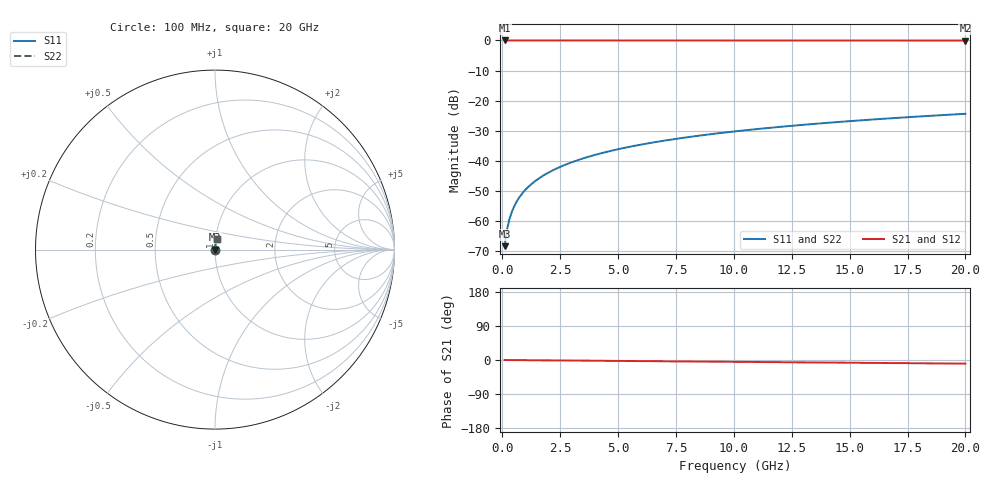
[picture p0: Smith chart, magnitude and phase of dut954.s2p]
! Touchstone file exported from HFSS 2026.1.0
!  File:  C:/ffzhzh/LocalFiles/Ansys_Project_Files/temp_train_TSV_954_1783187347_55132.aedt
!  Generated:  01:50:49 AM Jul  5, 2026
!  Design:  TSV
!  Project:  temp_train_TSV_954_1783187347_55132
! Variables:
!  h_bsmrdl = 2um
!  h_ox = 20um
!  h_rdl = 5um
!  h_sub = 85.45um
!  h_tmrdl = 5um
!  h_tsv = 85.45um
!  h_via = 3um
!  l_bsmrdl = 300um
!  l_sub = 417.14um
!  l_tmrdl = 200um
!  m_sub = 200um
!  pitch = 56.84um
!  r_tsv = 8.57um
!  s_tmrdl = 10um
!  w_bsmrdl = 18um
!  w_sub = 500um
!  w_tmrdl = 12um
!  x_tsv_center1 = 206um
!  x_tsv_center2 = 524um
!  x_tsv_center3 = 736um
!  x_tsv_center4 = 1054um
!  x_tsv_center5 = 1266um
!  x_tsv_center6 = 1584um
# GHz S MA R 50.000000
! Terminal data exported
! Port[1] = TSV1_1_T1
! Port[2] = TSV1_1_T2
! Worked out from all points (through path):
!   200 points, 100 MHz to 20 GHz, reference 50 ohm
!   highest |S21| = 0.00 dB at 100 MHz (marker M1); lowest = 0.0 dB at 20 GHz (marker M2)
!   group delay of S21, straight-line fit = 1.33 ps
!   lowest |S11| = -68.3 dB at 100 MHz (marker M3), VSWR 1.00, Z = 50 + j0.0348 ohm
!   |S11| at or under -10 dB: start of sweep to end of sweep
!   |S22| runs from -68.3 to -24.3 dB; largest |S21 - S12| = 3.1e-15
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0.1  0.0003859 64.4  0.9998 -0.1  0.9998 -0.1  0.0003859 64.4
! Gamma 0 0 0 0
! Port Impedance 50 0 50 0
0.2  0.0007163 75.6  0.9998 -0.1  0.9998 -0.1  0.0007163 75.6
0.3  0.001054 79.4  0.9998 -0.2  0.9998 -0.2  0.001054 79.4
0.4  0.001391 81.0  0.9998 -0.2  0.9998 -0.2  0.001391 81.0
0.5  0.001723 82.0  0.9998 -0.3  0.9998 -0.3  0.001723 82.0
0.6  0.002052 82.5  0.9997 -0.3  0.9997 -0.3  0.002052 82.5
0.7  0.002376 82.9  0.9997 -0.3  0.9997 -0.3  0.002376 82.9
0.8  0.002697 83.2  0.9997 -0.4  0.9997 -0.4  0.002697 83.2
1  0.003331 83.6  0.9997 -0.5  0.9997 -0.5  0.003331 83.6
1.4  0.00458 84.2  0.9996 -0.7  0.9996 -0.7  0.00458 84.2
1.7  0.005511 84.6  0.9995 -0.8  0.9995 -0.8  0.005511 84.6
2  0.00644 84.8  0.9995 -1.0  0.9995 -1.0  0.00644 84.8
2.7  0.008604 85.1  0.9994 -1.3  0.9994 -1.3  0.008604 85.1
3.5  0.01107 85.1  0.9993 -1.7  0.9993 -1.7  0.01107 85.1
4.2  0.01322 85.1  0.9992 -2.0  0.9992 -2.0  0.01322 85.1
5  0.01567 84.9  0.9991 -2.4  0.9991 -2.4  0.01567 84.9
6.8  0.02116 84.4  0.9989 -3.3  0.9989 -3.3  0.02116 84.4
8.3  0.02571 83.9  0.9987 -4.0  0.9987 -4.0  0.02571 83.9
10.1  0.03114 83.2  0.9985 -4.9  0.9985 -4.9  0.03114 83.2
13.4  0.04106 81.9  0.998 -6.4  0.998 -6.4  0.04106 81.9
16.7  0.0509 80.5  0.9974 -8.0  0.9974 -8.0  0.0509 80.5
20  0.06066 79.0  0.9967 -9.6  0.9967 -9.6  0.06066 79.0
